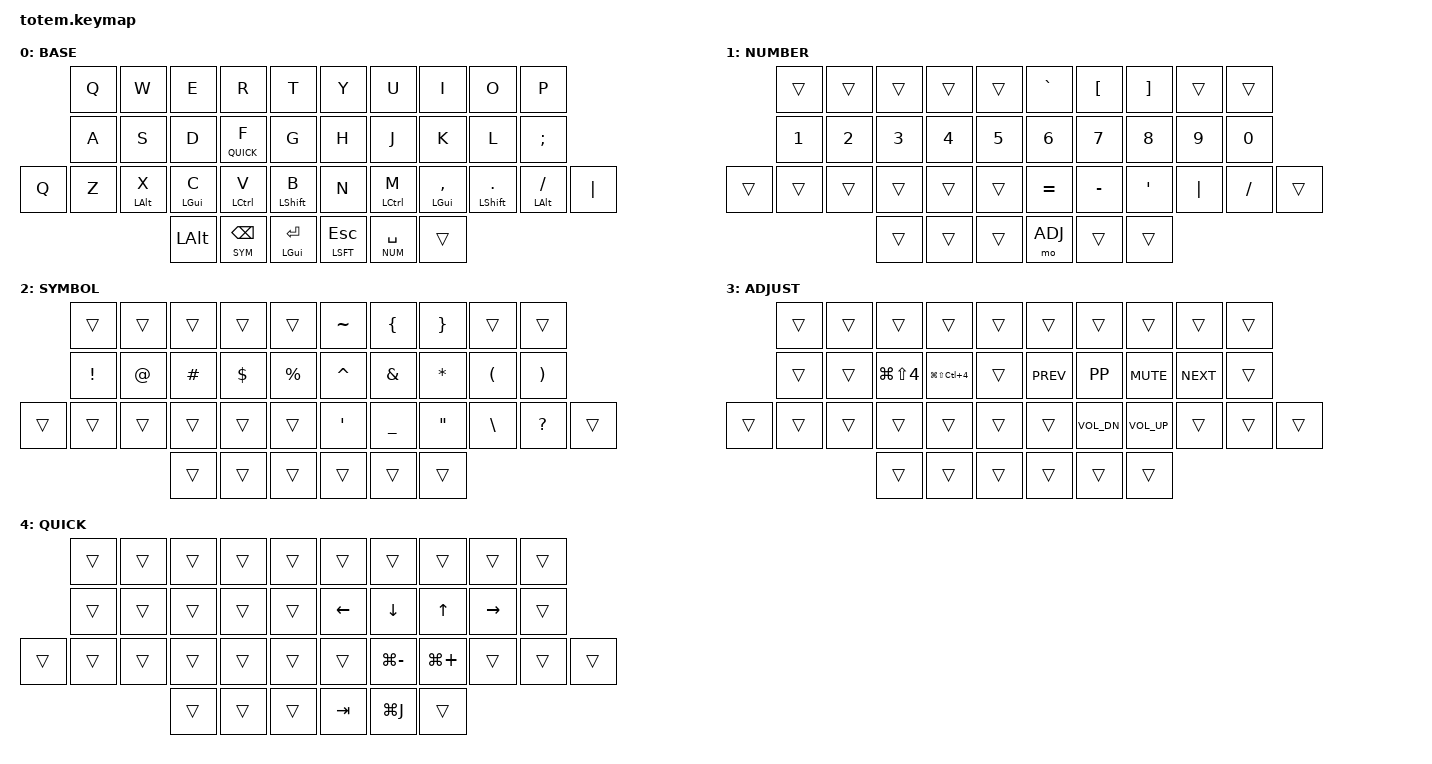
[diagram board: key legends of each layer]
//
//                                                        ▀▀▀▀▀     ▀▀▀▀▀          ▀▀█▀▀
//                                                        ▄▀▀▀▄  ▄  ▄▀▀▀▄  ▄  ▄▀▀▀▄  █  ▄▀▀▀▄
//                                                        █   █  █  █   █  █  █   █  █  █   █
//                                                         ▀▀▀   █   ▀▀▀   █   ▀▀▀   ▀   ▀▀▀
//                                                               █      ▄▄▄█▄▄▄    █   █  
//                                                               ▀      █  █  █     █▄█
//                                                             ▀▀▀▀▀    █  █  █      ▀
//                                                                      ▀  ▀  ▀
//
// ▄▄▄▄▄▄▄▄▄▄▄▄▄▄▄▄▄▄▄▄▄▄▄▄▄▄▄▄▄▄▄▄▄▄▄▄▄▄▄▄▄▄▄▄▄▄▄▄▄▄▄▄▄▄▄▄▄▄▄▄▄▄▄▄▄▄▄▄▄▄▄▄▄▄▄▄▄▄▄▄▄▄▄▄▄▄▄▄▄▄▄▄▄▄▄▄▄▄▄▄▄▄▄▄▄▄▄▄▄▄▄▄▄▄▄▄▄▄▄▄▄▄▄▄▄▄▄▄▄▄▄▄▄▄▄▄▄▄▄▄▄▄▄▄▄▄▄▄▄

#include <behaviors.dtsi>
#include <dt-bindings/zmk/keys.h>

#define BASE     0
#define NUM      1 
#define SYM      2 
#define ADJ      3 
#define QUICK    4 

&mt {
    quick-tap-ms = <250>;
    flavor = "tap-preferred";
    tapping-term-ms = <200>;
};

&lt {
    quick-tap-ms = <220>;
    flavor = "balanced";
    tapping-term-ms = <250>;
};

&sl {
    release-after-ms = <2000>;
};

/ {

    behaviors {
        hp: hold_preferred {
            compatible = "zmk,behavior-hold-tap";
            flavor = "hold-preferred";
            tapping-term-ms = <200>;
            #binding-cells = <2>;
            bindings = <&kp>, <&kp>;
            quick-tap-ms = <250>;
        };
    };

    conditional_layers {
        compatible = "zmk,conditional-layers";

        adjust_layer {
            if-layers = <NUM SYM>;
            then-layer = <ADJ>;
        };
    };

    macros {

    };

    keymap {
        compatible = "zmk,keymap";

// ▄▄▄▄▄▄▄▄▄▄▄▄▄▄▄▄▄▄▄▄▄▄▄▄▄▄▄▄▄▄▄▄▄▄▄▄▄▄▄▄▄▄▄▄▄▄▄▄▄▄▄▄▄▄▄▄▄▄▄▄▄▄▄▄▄▄▄▄▄▄▄▄▄▄▄▄▄▄▄▄▄▄▄▄▄▄▄▄▄▄▄▄▄▄▄▄▄▄▄▄▄▄▄▄▄▄▄▄▄▄▄▄▄▄▄▄▄▄▄▄▄▄▄▄▄▄▄▄▄▄▄▄▄▄▄▄▄▄▄▄▄▄▄▄▄▄▄▄▄▄▄▄▄▄▄▄▄▄▄▄▄▄▄▄▄▄▄▄▄▄▄▄▄▄▄▄▄▄▄▄▄▄
base_layer {
label =                                                                                "BASE";
bindings = <
//               ┏┳┳━━━━━━━━━━━┳┳┳━━━━━━━━━━━┳┳┳━━━━━━━━━━━┳┳┳━━━━━━━━━━━┳┳┳━━━━━━━━━━━┳┳┓  ┏┳┳━━━━━━━━━━━┳┳┳━━━━━━━━━━━┳┳┳━━━━━━━━━━━┳┳┳━━━━━━━━━━━┳┳┳━━━━━━━━━━━┳┳┓
                 &kp Q         &kp W         &kp E         &kp R         &kp T              &kp Y         &kp U         &kp I         &kp O         &kp P
//               ┣╋╋━━━━━━━━━━━╋╋╋━━━━━━━━━━━╋╋╋━━━━━━━━━━━╋╋╋━━━━━━━━━━━╋╋╋━━━━━━━━━━━╋╋┫  ┣╋╋━━━━━━━━━━━╋╋╋━━━━━━━━━━━╋╋╋━━━━━━━━━━━╋╋╋━━━━━━━━━━━╋╋╋━━━━━━━━━━━╋╋┫
                 &kp A         &kp S         &kp D         &lt QUICK F   &kp G              &kp H         &kp J         &kp K         &kp L         &kp SEMI
// ┏┳┳━━━━━━━━━━━╋╋╋━━━━━━━━━━━╋╋╋━━━━━━━━━━━╋╋╋━━━━━━━━━━━╋╋╋━━━━━━━━━━━╋╋╋━━━━━━━━━━━╋╋┫  ┣╋╋━━━━━━━━━━━╋╋╋━━━━━━━━━━━╋╋╋━━━━━━━━━━━╋╋╋━━━━━━━━━━━╋╋╋━━━━━━━━━━━╋╋╋━━━━━━━━━━━┳┳┓ 
   &kp Q         &kp Z         &mt LALT X    &mt LGUI C    &mt LCTL V    &mt LSHIFT B       &kp N         &mt LCTL M    &mt LGUI COMMA &mt LSHFT DOT &mt LALT FSLH &kp PIPE
// ┗┻┻━━━━━━━━━━━┻┻┻━━━━━━━━━━━┻┻┻━━━━━━━━━━━╋╋╋━━━━━━━━━━━╋╋╋━━━━━━━━━━━╋╋╋━━━━━━━━━━━╋╋┫  ┣╋╋━━━━━━━━━━━╋╋╋━━━━━━━━━━━╋╋╋━━━━━━━━━━━╋╋╋━━━━━━━━━━━┻┻┻━━━━━━━━━━━┻┻┻━━━━━━━━━━━┻┻┛
                                             &kp LALT      &lt SYM BSPC  &hp LGUI ENTER     &hp LSFT ESC  &lt NUM SPACE &trans
//                                           ┗┻┻━━━━━━━━━━━┻┻┻━━━━━━━━━━━┻┻┻━━━━━━━━━━━┻┻┛  ┗┻┻━━━━━━━━━━━┻┻┻━━━━━━━━━━━┻┻┻━━━━━━━━━━━┻┻┛
>;
};


// ▄▄▄▄▄▄▄▄▄▄▄▄▄▄▄▄▄▄▄▄▄▄▄▄▄▄▄▄▄▄▄▄▄▄▄▄▄▄▄▄▄▄▄▄▄▄▄▄▄▄▄▄▄▄▄▄▄▄▄▄▄▄▄▄▄▄▄▄▄▄▄▄▄▄▄▄▄▄▄▄▄▄▄▄▄▄▄▄▄▄▄▄▄▄▄▄▄▄▄▄▄▄▄▄▄▄▄▄▄▄▄▄▄▄▄▄▄▄▄▄▄▄▄▄▄▄▄▄▄▄▄▄▄▄▄▄▄▄▄▄▄▄▄▄▄▄▄▄▄▄▄▄▄▄▄▄▄▄▄▄▄▄▄▄▄▄▄▄▄▄▄▄▄▄▄▄▄▄▄▄▄▄
num_layer {
label =                                                                                 "NUMBER";
bindings = <
//               ┏━┳━━━━━━━━━━━┳━┳━━━━━━━━━━━┳━┳━━━━━━━━━━━┳━┳━━━━━━━━━━━┳━┳━━━━━━━━━━━┳━┓  ┏━┳━━━━━━━━━━━┳━┳━━━━━━━━━━━┳━┳━━━━━━━━━━━┳━┳━━━━━━━━━━━┳━┳━━━━━━━━━━━┳━┓
                 &trans        &trans        &trans        &trans        &trans             &kp GRAVE     &kp LBKT      &kp RBKT      &trans        &trans
//               ┣━╋━━━━━━━━━━━╋━╋━━━━━━━━━━━╋━╋━━━━━━━━━━━╋━╋━━━━━━━━━━━╋━╋━━━━━━━━━━━╋━┫  ┣━╋━━━━━━━━━━━╋━╋━━━━━━━━━━━╋━╋━━━━━━━━━━━╋━╋━━━━━━━━━━━╋━╋━━━━━━━━━━━╋━┫ 
                 &kp N1        &kp N2        &kp N3        &kp N4        &kp N5             &kp N6        &kp N7        &kp N8        &kp N9        &kp N0             
// ┏━┳━━━━━━━━━━━╋━╋━━━━━━━━━━━╋━╋━━━━━━━━━━━╋━╋━━━━━━━━━━━╋━╋━━━━━━━━━━━╋━╋━━━━━━━━━━━╋━┫  ┣━╋━━━━━━━━━━━╋━╋━━━━━━━━━━━╋━╋━━━━━━━━━━━╋━╋━━━━━━━━━━━╋━╋━━━━━━━━━━━╋━╋━━━━━━━━━━━┳━┓
   &trans        &trans        &trans        &trans        &trans        &trans             &kp EQUAL     &kp MINUS     &kp SQT       &kp PIPE      &kp SLASH     &trans
// ┗━┻━━━━━━━━━━━┻━┻━━━━━━━━━━━┻━┻━━━━━━━━━━━╋━╋━━━━━━━━━━━╋━╋━━━━━━━━━━━╋━╋━━━━━━━━━━━╋━┫  ┣━╋━━━━━━━━━━━╋━╋━━━━━━━━━━━╋━╋━━━━━━━━━━━┻━┻━━━━━━━━━━━┻━┻━━━━━━━━━━━┻━┻━━━━━━━━━━━┻━┛
                                             &trans        &trans        &trans             &mo ADJ       &trans        &trans
//                                           ┗━┻━━━━━━━━━━━┻━┻━━━━━━━━━━━┻━┻━━━━━━━━━━━┻━┛  ┗━┻━━━━━━━━━━━┻━┻━━━━━━━━━━━┻━┻━━━━━━━━━━━┻━┛
>;
        };

// ▄▄▄▄▄▄▄▄▄▄▄▄▄▄▄▄▄▄▄▄▄▄▄▄▄▄▄▄▄▄▄▄▄▄▄▄▄▄▄▄▄▄▄▄▄▄▄▄▄▄▄▄▄▄▄▄▄▄▄▄▄▄▄▄▄▄▄▄▄▄▄▄▄▄▄▄▄▄▄▄▄▄▄▄▄▄▄▄▄▄▄▄▄▄▄▄▄▄▄▄▄▄▄▄▄▄▄▄▄▄▄▄▄▄▄▄▄▄▄▄▄▄▄▄▄▄▄▄▄▄▄▄▄▄▄▄▄▄▄▄▄▄▄▄▄▄▄▄▄▄▄▄▄▄▄▄▄▄▄▄▄▄▄▄▄▄▄▄▄▄▄▄▄▄▄▄▄▄▄▄▄▄
sym_layer { 
label =                                                                                 "SYMBOL";
bindings = <
//               ┏━┳━━━━━━━━━━━┳━┳━━━━━━━━━━━┳━┳━━━━━━━━━━━┳━┳━━━━━━━━━━━┳━┳━━━━━━━━━━━┳━┓  ┏━┳━━━━━━━━━━━┳━┳━━━━━━━━━━━┳━┳━━━━━━━━━━━┳━┳━━━━━━━━━━━┳━┳━━━━━━━━━━━┳━┓
                 &trans        &trans        &trans        &trans        &trans             &kp TILDE     &kp LBRC      &kp RBRC      &trans        &trans
//               ┣━╋━━━━━━━━━━━╋━╋━━━━━━━━━━━╋━╋━━━━━━━━━━━╋━╋━━━━━━━━━━━╋━╋━━━━━━━━━━━╋━┫  ┣━╋━━━━━━━━━━━╋━╋━━━━━━━━━━━╋━╋━━━━━━━━━━━╋━╋━━━━━━━━━━━╋━╋━━━━━━━━━━━╋━┫ 
                 &kp EXCL      &kp AT        &kp HASH      &kp DOLLAR    &kp PRCNT          &kp CARET     &kp AMPERSAND &kp ASTERISK  &kp LPAR      &kp RPAR 
// ┏━┳━━━━━━━━━━━╋━╋━━━━━━━━━━━╋━╋━━━━━━━━━━━╋━╋━━━━━━━━━━━╋━╋━━━━━━━━━━━╋━╋━━━━━━━━━━━╋━┫  ┣━╋━━━━━━━━━━━╋━╋━━━━━━━━━━━╋━╋━━━━━━━━━━━╋━╋━━━━━━━━━━━╋━╋━━━━━━━━━━━╋━╋━━━━━━━━━━━┳━┓
   &trans        &trans        &trans        &trans        &trans        &trans             &kp SQT       &kp UNDER     &kp DQT       &kp BACKSLASH &kp QUESTION  &trans
// ┗━┻━━━━━━━━━━━┻━┻━━━━━━━━━━━┻━┻━━━━━━━━━━━╋━╋━━━━━━━━━━━╋━╋━━━━━━━━━━━╋━╋━━━━━━━━━━━╋━┫  ┣━╋━━━━━━━━━━━╋━╋━━━━━━━━━━━╋━╋━━━━━━━━━━━┻━┻━━━━━━━━━━━┻━┻━━━━━━━━━━━┻━┻━━━━━━━━━━━┻━┛
                                             &trans        &trans        &trans             &trans        &trans        &trans
//                                           ┗━┻━━━━━━━━━━━┻━┻━━━━━━━━━━━┻━┻━━━━━━━━━━━┻━┛  ┗━┻━━━━━━━━━━━┻━┻━━━━━━━━━━━┻━┻━━━━━━━━━━━┻━┛
>;
        };
// ▄▄▄▄▄▄▄▄▄▄▄▄▄▄▄▄▄▄▄▄▄▄▄▄▄▄▄▄▄▄▄▄▄▄▄▄▄▄▄▄▄▄▄▄▄▄▄▄▄▄▄▄▄▄▄▄▄▄▄▄▄▄▄▄▄▄▄▄▄▄▄▄▄▄▄▄▄▄▄▄▄▄▄▄▄▄▄▄▄▄▄▄▄▄▄▄▄▄▄▄▄▄▄▄▄▄▄▄▄▄▄▄▄▄▄▄▄▄▄▄▄▄▄▄▄▄▄▄▄▄▄▄▄▄▄▄▄▄▄▄▄▄▄▄▄▄▄▄▄▄▄▄▄▄▄▄▄▄▄▄▄▄▄▄▄▄▄▄▄▄▄▄▄▄▄▄▄▄▄▄▄▄
adjust_layer {
label =                                                                                "ADJUST";
bindings = <
//               ┏┳┳━━━━━━━━━━━┳┳┳━━━━━━━━━━━┳┳┳━━━━━━━━━━━┳┳┳━━━━━━━━━━━┳┳┳━━━━━━━━━━━┳┳┓  ┏┳┳━━━━━━━━━━━┳┳┳━━━━━━━━━━━┳┳┳━━━━━━━━━━━┳┳┳━━━━━━━━━━━┳┳┳━━━━━━━━━━━┳┳┓
                 &trans        &trans        &trans        &trans        &trans             &trans        &trans        &trans        &trans        &trans        
//               ┣╋╋━━━━━━━━━━━╋╋╋━━━━━━━━━━━╋╋╋━━━━━━━━━━━╋╋╋━━━━━━━━━━━╋╋╋━━━━━━━━━━━╋╋┫  ┣╋╋━━━━━━━━━━━╋╋╋━━━━━━━━━━━╋╋╋━━━━━━━━━━━╋╋╋━━━━━━━━━━━╋╋╋━━━━━━━━━━━╋╋╋
                 &trans        &trans        &kp LG(LS(N4)) &kp LG(LS(LC(N4)))  &trans      &kp K_PREV    &kp K_PP      &kp K_MUTE    &kp K_NEXT    &trans             
// ┏┳┳━━━━━━━━━━━╋╋╋━━━━━━━━━━━╋╋╋━━━━━━━━━━━╋╋╋━━━━━━━━━━━╋╋╋━━━━━━━━━━━╋╋╋━━━━━━━━━━━╋╋┫  ┣╋╋━━━━━━━━━━━╋╋╋━━━━━━━━━━━╋╋╋━━━━━━━━━━━╋╋╋━━━━━━━━━━━╋╋╋━━━━━━━━━━━╋╋╋━━━━━━━━━━━┳┳┓ 
   &trans        &trans        &trans        &trans        &trans        &trans             &trans        &kp C_VOL_DN  &kp C_VOL_UP  &trans        &trans        &trans             
// ┗┻┻━━━━━━━━━━━┻┻┻━━━━━━━━━━━┻┻┻━━━━━━━━━━━╋╋╋━━━━━━━━━━━╋╋╋━━━━━━━━━━━╋╋╋━━━━━━━━━━━╋╋┫  ┣╋╋━━━━━━━━━━━╋╋╋━━━━━━━━━━━╋╋╋━━━━━━━━━━━╋╋╋━━━━━━━━━━━┻┻┻━━━━━━━━━━━┻┻┻━━━━━━━━━━━┻┻┛
                                             &trans        &trans        &trans             &trans        &trans        &trans             
//                                           ┗┻┻━━━━━━━━━━━┻┻┻━━━━━━━━━━━┻┻┻━━━━━━━━━━━┻┻┛  ┗┻┻━━━━━━━━━━━┻┻┻━━━━━━━━━━━┻┻┻━━━━━━━━━━━┻┻┛
>;
};

// ▄▄▄▄▄▄▄▄▄▄▄▄▄▄▄▄▄▄▄▄▄▄▄▄▄▄▄▄▄▄▄▄▄▄▄▄▄▄▄▄▄▄▄▄▄▄▄▄▄▄▄▄▄▄▄▄▄▄▄▄▄▄▄▄▄▄▄▄▄▄▄▄▄▄▄▄▄▄▄▄▄▄▄▄▄▄▄▄▄▄▄▄▄▄▄▄▄▄▄▄▄▄▄▄▄▄▄▄▄▄▄▄▄▄▄▄▄▄▄▄▄▄▄▄▄▄▄▄▄▄▄▄▄▄▄▄▄▄▄▄▄▄▄▄▄▄▄▄▄▄▄▄▄▄▄▄▄▄▄▄▄▄▄▄▄▄▄▄▄▄▄▄▄▄▄▄▄▄▄▄▄▄
quick_layer {
label =                                                                                "QUICK";
bindings = <
//               ┏┳┳━━━━━━━━━━━┳┳┳━━━━━━━━━━━┳┳┳━━━━━━━━━━━┳┳┳━━━━━━━━━━━┳┳┳━━━━━━━━━━━┳┳┓  ┏┳┳━━━━━━━━━━━┳┳┳━━━━━━━━━━━┳┳┳━━━━━━━━━━━┳┳┳━━━━━━━━━━━┳┳┳━━━━━━━━━━━┳┳┓
                 &trans        &trans        &trans        &trans        &trans             &trans        &trans        &trans        &trans        &trans           
//               ┣╋╋━━━━━━━━━━━╋╋╋━━━━━━━━━━━╋╋╋━━━━━━━━━━━╋╋╋━━━━━━━━━━━╋╋╋━━━━━━━━━━━╋╋┫  ┣╋╋━━━━━━━━━━━╋╋╋━━━━━━━━━━━╋╋╋━━━━━━━━━━━╋╋╋━━━━━━━━━━━╋╋╋━━━━━━━━━━━╋╋╋
                 &trans        &trans        &trans        &trans        &trans             &kp LEFT      &kp DOWN      &kp UP        &kp RIGHT     &trans        
// ┏┳┳━━━━━━━━━━━╋╋╋━━━━━━━━━━━╋╋╋━━━━━━━━━━━╋╋╋━━━━━━━━━━━╋╋╋━━━━━━━━━━━╋╋╋━━━━━━━━━━━╋╋┫  ┣╋╋━━━━━━━━━━━╋╋╋━━━━━━━━━━━╋╋╋━━━━━━━━━━━╋╋╋━━━━━━━━━━━╋╋╋━━━━━━━━━━━╋╋╋━━━━━━━━━━━┳┳┓ 
   &trans        &trans        &trans        &trans        &trans        &trans             &trans        &kp LG(MINUS) &kp LG(PLUS) &trans        &trans        &trans             
// ┗┻┻━━━━━━━━━━━┻┻┻━━━━━━━━━━━┻┻┻━━━━━━━━━━━╋╋╋━━━━━━━━━━━╋╋╋━━━━━━━━━━━╋╋╋━━━━━━━━━━━╋╋┫  ┣╋╋━━━━━━━━━━━╋╋╋━━━━━━━━━━━╋╋╋━━━━━━━━━━━╋╋╋━━━━━━━━━━━┻┻┻━━━━━━━━━━━┻┻┻━━━━━━━━━━━┻┻┛
                                             &trans        &trans        &trans             &kp TAB       &kp LG(J)     &trans
//                                           ┗┻┻━━━━━━━━━━━┻┻┻━━━━━━━━━━━┻┻┻━━━━━━━━━━━┻┻┛  ┗┻┻━━━━━━━━━━━┻┻┻━━━━━━━━━━━┻┻┻━━━━━━━━━━━┻┻┛
>;
};
};
};
            //               ┏┳┳━━━━━━━━━━━┳┳┳━━━━━━━━━━━┳┳┳━━━━━━━━━━━┳┳┳━━━━━━━━━━━┳┳┳━━━━━━━━━━━┳┳┓  ┏┳┳━━━━━━━━━━━┳┳┳━━━━━━━━━━━┳┳┳━━━━━━━━━━━┳┳┳━━━━━━━━━━━┳┳┳━━━━━━━━━━━┳┳┓
            //               &trans        &trans        &trans        &trans        &trans             &trans        &trans        &trans        &trans        &trans
            //               ┣╋╋━━━━━━━━━━━╋╋╋━━━━━━━━━━━╋╋╋━━━━━━━━━━━╋╋╋━━━━━━━━━━━╋╋╋━━━━━━━━━━━╋╋┫  ┣╋╋━━━━━━━━━━━╋╋╋━━━━━━━━━━━╋╋╋━━━━━━━━━━━╋╋╋━━━━━━━━━━━╋╋╋━━━━━━━━━━━╋╋╋
            //               &trans        &trans        &trans        &trans        &trans             &trans        &trans        &trans        &trans        &trans
            // ┏┳┳━━━━━━━━━━━╋╋╋━━━━━━━━━━━╋╋╋━━━━━━━━━━━╋╋╋━━━━━━━━━━━╋╋╋━━━━━━━━━━━╋╋╋━━━━━━━━━━━╋╋┫  ┣╋╋━━━━━━━━━━━╋╋╋━━━━━━━━━━━╋╋╋━━━━━━━━━━━╋╋╋━━━━━━━━━━━╋╋╋━━━━━━━━━━━╋╋╋━━━━━━━━━━━┳┳┓ 
            // &trans        &trans        &trans        &trans        &trans        &trans             &trans        &trans        &trans        &trans        &trans        &trans
            // ┗┻┻━━━━━━━━━━━┻┻┻━━━━━━━━━━━┻┻┻━━━━━━━━━━━╋╋╋━━━━━━━━━━━╋╋╋━━━━━━━━━━━╋╋╋━━━━━━━━━━━╋╋┫  ┣╋╋━━━━━━━━━━━╋╋╋━━━━━━━━━━━╋╋╋━━━━━━━━━━━╋╋╋━━━━━━━━━━━┻┻┻━━━━━━━━━━━┻┻┻━━━━━━━━━━━┻┻┛
            //                                           &trans        &trans        &trans             &trans        &trans        &trans
            //                                           ┗┻┻━━━━━━━━━━━┻┻┻━━━━━━━━━━━┻┻┻━━━━━━━━━━━┻┻┛  ┗┻┻━━━━━━━━━━━┻┻┻━━━━━━━━━━━┻┻┻━━━━━━━━━━━┻┻┛
